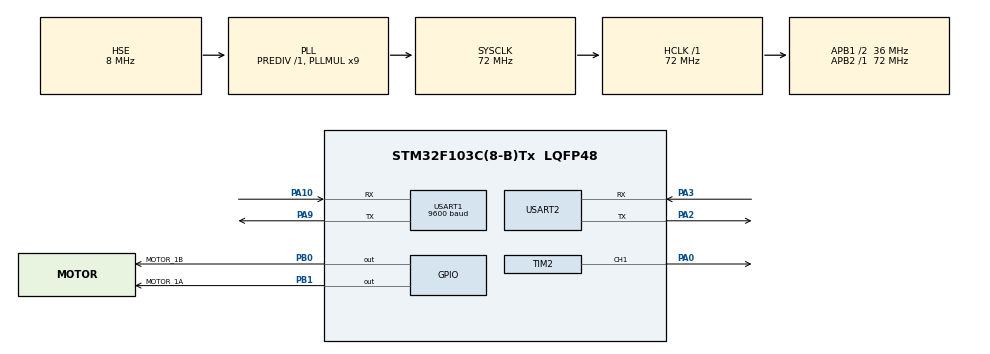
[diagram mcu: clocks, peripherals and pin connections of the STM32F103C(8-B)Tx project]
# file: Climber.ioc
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Mcu.Family=STM32F1
Mcu.Name=STM32F103C(8-B)Tx
Mcu.Package=LQFP48
NVIC.PriorityGroup=NVIC_PRIORITYGROUP_4
NVIC.TIM2_IRQn=true\:0\:0\:false\:false\:true\:true\:true
NVIC.USART1_IRQn=true\:0\:0\:false\:false\:true\:true\:true
NVIC.USART2_IRQn=true\:0\:0\:false\:false\:true\:true\:true
PA0-WKUP.Signal=S_TIM2_CH1_ETR
PA10.Mode=Asynchronous
PA10.Signal=USART1_RX
PA2.Mode=Asynchronous
PA2.Signal=USART2_TX
PA3.Mode=Asynchronous
PA3.Signal=USART2_RX
PA9.Mode=Asynchronous
PA9.Signal=USART1_TX
PB0.GPIO_Label=MOTOR_1B
PB0.Signal=GPIO_Output
PB1.GPIO_Label=MOTOR_1A
PB1.Signal=GPIO_Output
PD0-OSC_IN.Mode=HSE-External-Oscillator
PD0-OSC_IN.Signal=RCC_OSC_IN
PD1-OSC_OUT.Mode=HSE-External-Oscillator
PD1-OSC_OUT.Signal=RCC_OSC_OUT
ProjectManager.HeapSize=0x200
ProjectManager.StackSize=0x400
ProjectManager.TargetToolchain=STM32CubeIDE
RCC.AHBFreq_Value=72000000
RCC.APB1CLKDivider=RCC_HCLK_DIV2
RCC.APB1Freq_Value=36000000
RCC.APB1TimFreq_Value=72000000
RCC.APB2Freq_Value=72000000
RCC.APB2TimFreq_Value=72000000
RCC.HCLKFreq_Value=72000000
RCC.PLLMUL=RCC_PLL_MUL9
RCC.PLLSourceVirtual=RCC_PLLSOURCE_HSE
RCC.SYSCLKFreq_VALUE=72000000
RCC.SYSCLKSource=RCC_SYSCLKSOURCE_PLLCLK
RCC.USBFreq_Value=72000000
SH.S_TIM2_CH1_ETR.0=TIM2_CH1,PWM Generation1 CH1
TIM2.Channel-PWM\ Generation1\ CH1=TIM_CHANNEL_1
TIM2.Period=1000
TIM2.Prescaler=1440
USART1.BaudRate=9600
USART1.VirtualMode=VM_ASYNC
USART2.VirtualMode=VM_ASYNC
VP_SYS_VS_ND.Mode=No_Debug
VP_TIM2_VS_ClockSourceINT.Mode=Internal
board=custom

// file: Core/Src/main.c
/* USER CODE BEGIN Header */
/**
  ******************************************************************************
  * @file           : main.c
  * @brief          : Main program body
  ******************************************************************************
  * @attention
  *
  * <h2><center>&copy; Copyright (c) 2020 STMicroelectronics.
  * All rights reserved.</center></h2>
  *
  * This software component is licensed by ST under BSD 3-Clause license,
  * the "License"; You may not use this file except in compliance with the
  * License. You may obtain a copy of the License at:
  *                        opensource.org/licenses/BSD-3-Clause
  *
  ******************************************************************************
  */
/* USER CODE END Header */

#include "main.h"
#include "tim.h"
#include "usart.h"
#include "gpio.h"

void SystemClock_Config(void);

/* USER CODE BEGIN 0 */
extern uint8_t buffer_rx[2];
/* USER CODE END 0 */

int main(void)
{

  /* MCU Configuration--------------------------------------------------------*/

  /* Reset of all peripherals, Initializes the Flash interface and the Systick. */
  HAL_Init();

  /* Configure the system clock */
  SystemClock_Config();

  /* Initialize all configured peripherals */
  MX_GPIO_Init();
  MX_TIM2_Init();
  MX_USART1_UART_Init();
  MX_USART2_UART_Init();
  /* USER CODE BEGIN 2 */
  HAL_GPIO_WritePin(GPIOB, MOTOR_1A_Pin, GPIO_PIN_SET);
  HAL_GPIO_WritePin(GPIOB, MOTOR_1B_Pin, GPIO_PIN_SET);
  HAL_UART_RxCpltCallback(&huart1);
  HAL_Delay(500);
  HAL_UART_Transmit(&huart2,(uint8_t * )"START",5,10);
  HAL_Delay(500);
  /* USER CODE END 2 */

  /* Infinite loop */
  while (1)
  {

    /* USER CODE BEGIN 3 */
	  AttachDcmotor();
  }
  /* USER CODE END 3 */
}

void SystemClock_Config(void)
{
  RCC_OscInitTypeDef RCC_OscInitStruct = {0};
  RCC_ClkInitTypeDef RCC_ClkInitStruct = {0};

  /** Initializes the CPU, AHB and APB busses clocks
  */
  RCC_OscInitStruct.OscillatorType = RCC_OSCILLATORTYPE_HSE;
  RCC_OscInitStruct.HSEState = RCC_HSE_ON;
  RCC_OscInitStruct.HSEPredivValue = RCC_HSE_PREDIV_DIV1;
  RCC_OscInitStruct.HSIState = RCC_HSI_ON;
  RCC_OscInitStruct.PLL.PLLState = RCC_PLL_ON;
  RCC_OscInitStruct.PLL.PLLSource = RCC_PLLSOURCE_HSE;
  RCC_OscInitStruct.PLL.PLLMUL = RCC_PLL_MUL9;
  if (HAL_RCC_OscConfig(&RCC_OscInitStruct) != HAL_OK)
  {
    Error_Handler();
  }
  /** Initializes the CPU, AHB and APB busses clocks
  */
  RCC_ClkInitStruct.ClockType = RCC_CLOCKTYPE_HCLK|RCC_CLOCKTYPE_SYSCLK
                              |RCC_CLOCKTYPE_PCLK1|RCC_CLOCKTYPE_PCLK2;
  RCC_ClkInitStruct.SYSCLKSource = RCC_SYSCLKSOURCE_PLLCLK;
  RCC_ClkInitStruct.AHBCLKDivider = RCC_SYSCLK_DIV1;
  RCC_ClkInitStruct.APB1CLKDivider = RCC_HCLK_DIV2;
  RCC_ClkInitStruct.APB2CLKDivider = RCC_HCLK_DIV1;

  if (HAL_RCC_ClockConfig(&RCC_ClkInitStruct, FLASH_LATENCY_2) != HAL_OK)
  {
    Error_Handler();
  }
}

/* USER CODE BEGIN 4 */
void AttachDcmotor(void)
{

 if(buffer_rx[0]=='2' && buffer_rx[1]=='2')
   {
    	 HAL_GPIO_WritePin(GPIOB, MOTOR_1A_Pin, GPIO_PIN_RESET);
    	 HAL_GPIO_WritePin(GPIOB, MOTOR_1B_Pin, GPIO_PIN_SET);

   }

 if(buffer_rx[0]=='1' && buffer_rx[1]=='1')
   {
    	 HAL_GPIO_WritePin(GPIOB, MOTOR_1A_Pin, GPIO_PIN_SET);
    	 HAL_GPIO_WritePin(GPIOB, MOTOR_1B_Pin, GPIO_PIN_RESET);
    }

 if(buffer_rx[0]=='1' && buffer_rx[1]=='0')
    {
    	 HAL_GPIO_WritePin(GPIOB, MOTOR_1A_Pin, GPIO_PIN_SET);
    	 HAL_GPIO_WritePin(GPIOB, MOTOR_1B_Pin, GPIO_PIN_SET);
    }
}
/* USER CODE END 4 */

void Error_Handler(void)
{
}

/************************ (C) COPYRIGHT STMicroelectronics *****END OF FILE****/
